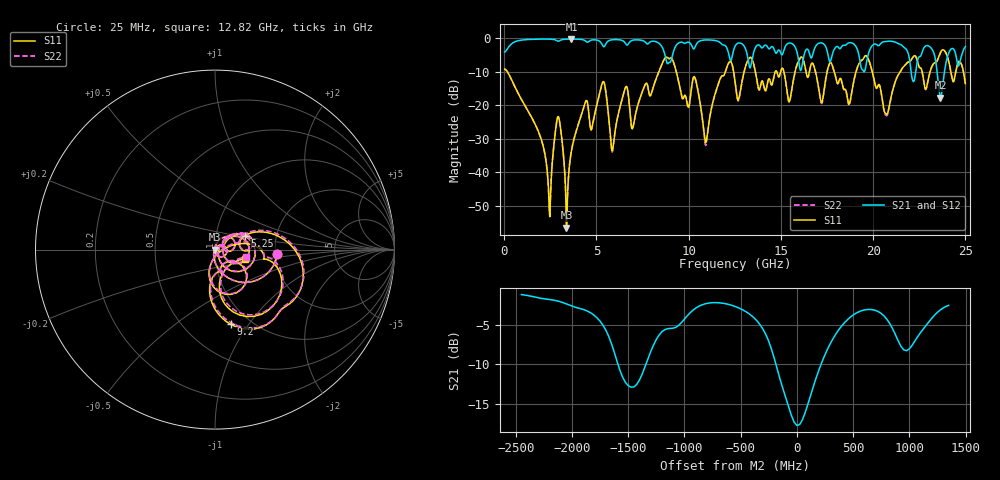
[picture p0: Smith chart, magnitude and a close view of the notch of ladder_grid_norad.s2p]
! R_s4_lshape_n0: kisi's ladder with the plane pair as a finite cavity (grid) (L-shaped planes (24 × 16 mm minus an 8 × 6 mm corner), via L1 → L4, no return via)
# Hz S RI R 50
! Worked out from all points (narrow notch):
!   1000 points, 25 MHz to 25 GHz, reference 50 ohm
!   highest |S21| = -0.20 dB at 3.65 GHz (marker M1); lowest = -17.8 dB at 23.65 GHz (marker M2)
!   notch at M2: 16.0 dB deep, 412 MHz wide at half that depth
!   lowest |S11| = -56.6 dB at 3.375 GHz (marker M3), VSWR 1.00, Z = 49.9 - j0.092 ohm
!   |S11| at or under -10 dB: 180 MHz to 8.383 GHz (8.203 GHz wide, 192 % of centre); 9.332 GHz to 11.99 GHz (2.656 GHz wide, 24.9 % of centre); 19.95 GHz to 21.47 GHz (1.513 GHz wide, 7.31 % of centre)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
!   |S22| runs from -55.5 to -3.4 dB; largest |S21 - S12| = 0
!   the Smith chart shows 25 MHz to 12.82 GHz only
!   S11 on the Smith chart (normalised r, x): 25 MHz: 2.06, -0.11; 5.25 GHz: 1.39, +0.21; 9.2 GHz: 0.81, -0.83; 12.82 GHz: 1.40, -0.15
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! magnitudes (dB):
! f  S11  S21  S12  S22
! 25 MHz  -9.2  -4.1  -4.1  -9.2
! 2.45 GHz  -51.8  -0.2  -0.2  -51.3
! 2.95 GHz  -23.5  -0.8  -0.8  -23.5
! 3.375 GHz  -56.6  -0.2  -0.2  -55.5
! 3.65 GHz  -33.6  -0.2  -0.2  -33.5
! 4.2 GHz  -22.7  -0.3  -0.3  -22.7
! 5.25 GHz  -14.7  -1.3  -1.3  -14.7
! 5.875 GHz  -33.4  -0.4  -0.4  -33.8
! 6.55 GHz  -15.0  -1.3  -1.3  -15.1
! 6.975 GHz  -26.8  -0.5  -0.5  -26.9
! 8.35 GHz  -10.5  -1.3  -1.3  -10.5
! 9.2 GHz  -7.4  -3.5  -3.5  -7.4
! 10.93 GHz  -31.2  -0.5  -0.5  -32.0
! 12.53 GHz  -13.3  -2.2  -2.2  -13.4
! 12.82 GHz  -15.0  -1.4  -1.4  -15.1
! 16.68 GHz  -7.4  -5.6  -5.6  -7.5
! 18.7 GHz  -19.7  -1.3  -1.3  -20.0
! 19.62 GHz  -5.2  -7.7  -7.7  -5.2
! 20.85 GHz  -20.9  -0.8  -0.8  -21.2
! 23.1 GHz  -9.7  -2.6  -2.6  -9.8
! 23.65 GHz  -4.2  -17.8  -17.8  -4.3
! 25 GHz  -13.5  -2.5  -2.5  -13.6
